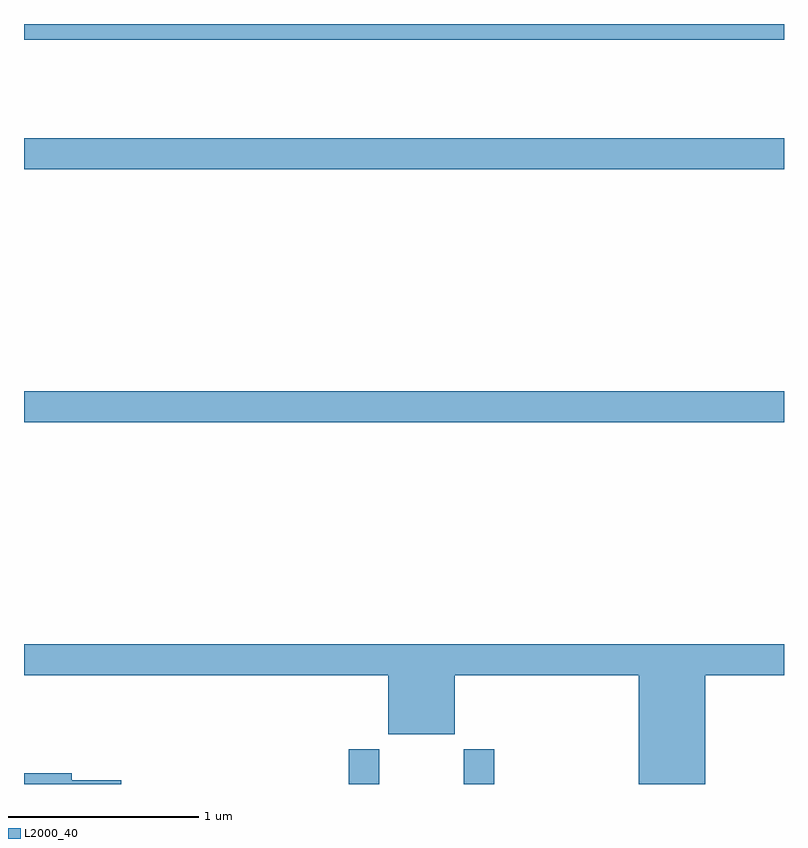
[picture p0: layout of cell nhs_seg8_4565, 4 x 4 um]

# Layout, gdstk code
import gdstk
lib = gdstk.Library(unit=1e-6, precision=1e-09)
def R(c, l, rs):  # rectangles x0, y0, x1, y1
    for r in rs: c.add(gdstk.rectangle(r[:2], r[2:], *l))
def P(c, l, *ps):  # polygons
    for p in ps: c.add(gdstk.Polygon(p, *l))
L2000_40 = (2000, 40)

nhs_seg8_4565 = lib.new_cell('nhs_seg8_4565')
R(nhs_seg8_4565, L2000_40, [(388.709,1143.9,388.869,1144.084), (389.314,1143.9,389.474,1144.084), (387,1145.804,391,1145.968), (387,1147.136,391,1147.3), (387,1147.816,391,1147.9)])
P(nhs_seg8_4565, L2000_40, [(390.586,1144.472),(391,1144.472),(391,1144.636),(387,1144.636),(387,1144.472),(388.916,1144.472),(388.916,1144.163),(389.266,1144.163),(389.266,1144.472),(390.236,1144.472),(390.236,1143.9),(390.586,1143.9)],
  [(387.511,1143.92),(387.25,1143.92),(387.25,1143.956),(387,1143.956),(387,1143.9),(387.511,1143.9)])

lib.write_gds('nhs_seg8_4565.gds')
